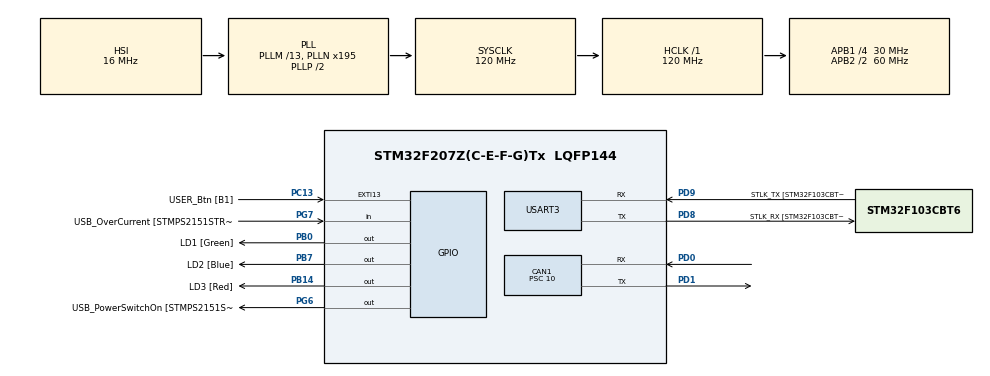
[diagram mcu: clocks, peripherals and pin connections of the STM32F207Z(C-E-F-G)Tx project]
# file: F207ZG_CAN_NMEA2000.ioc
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Mcu.Family=STM32F2
PH0-OSC_IN.Signal=RCC_OSC_IN
RCC.CortexFreq_Value=120000000
PG6.Signal=GPIO_Output
PB14.GPIO_Label=LD3 [Red]
PG6.GPIO_Label=USB_PowerSwitchOn [STMPS2151STR_EN]
PA14.GPIO_Label=TCK
RCC.SYSCLKSourceVirtual=RCC_SYSCLKSOURCE_PLLCLK
PB0.GPIO_Label=LD1 [Green]
PC13.GPIO_Label=USER_Btn [B1]
PB13.GPIO_Label=RMII_TXD1 [LAN8742A-CZ-TR_TXD1]
PB13.Signal=ETH_TXD1
PG13.Signal=ETH_TXD0
PD9.Mode=Asynchronous
PG11.Signal=ETH_TX_EN
RCC.SYSCLKSource=RCC_SYSCLKSOURCE_PLLCLK
ProjectManager.StackSize=0x400
PA12.Signal=USB_OTG_FS_DP
RCC.HCLKFreq_Value=120000000
RCC.APB2TimFreq_Value=120000000
PD0.Signal=CAN1_RX
PD8.Signal=USART3_TX
RCC.AHBFreq_Value=120000000
PH0-OSC_IN.Mode=HSE-External-Clock-Source
PH0-OSC_IN.GPIO_Label=MCO [STM32F103CBT6_PA8]
RCC.HSE_VALUE=8000000
RCC.PLLMUL=RCC_PLL_MUL9
PC14-OSC32_IN.Mode=LSE-External-Oscillator
PC4.GPIO_Label=RMII_RXD0 [LAN8742A-CZ-TR_RXD0]
PA14.Mode=Serial_Wire
PA10.GPIO_Label=USB_ID
PB7.Signal=GPIO_Output
PA8.Signal=USB_OTG_FS_SOF
PB7.GPIO_Label=LD2 [Blue]
PH1-OSC_OUT.Mode=HSE-External-Clock-Source
CAN1.Prescaler=10
Mcu.Package=LQFP144
PA2.GPIO_Label=RMII_MDIO [LAN8742A-CZ-TR_MDIO]
PA10.Signal=USB_OTG_FS_ID
RCC.APB2CLKDivider=RCC_HCLK_DIV2
RCC.APB1TimFreq_Value=60000000
PG11.GPIO_Label=RMII_TX_EN [LAN8742A-CZ-TR_TXEN]
PC5.Signal=ETH_RXD1
CAN1.CalculateTimeBit=3999.99
CAN1.CalculateTimeQuantum=333.33333333333337
PB3.GPIO_Label=SWO
PC15-OSC32_OUT.Mode=LSE-External-Oscillator
PG7.Signal=GPIO_Input
PD9.GPIO_Label=STLK_TX [STM32F103CBT6_PA2]
PC13.Signal=GPXTI13
PA9.GPIO_Label=USB_VBUS
CAN1.CalculateBaudRate=250000
PC4.Signal=ETH_RXD0
PD1.Signal=CAN1_TX
PA11.GPIO_Label=USB_DM
PD9.Signal=USART3_RX
RCC.APB1CLKDivider=RCC_HCLK_DIV4
PC14-OSC32_IN.Signal=RCC_OSC32_IN
PG13.GPIO_Label=RMII_TXD0 [LAN8742A-CZ-TR_TXD0]
PA12.GPIO_Label=USB_DP
PD8.GPIO_Label=STLK_RX [STM32F103CBT6_PA3]
PA13.Signal=SYS_JTMS-SWDIO
PA8.GPIO_Label=USB_SOF [TP1]
CAN1.BS1=CAN_BS1_10TQ
ProjectManager.TargetToolchain=STM32CubeIDE
PA9.Signal=USB_OTG_FS_VBUS
RCC.USBFreq_Value=48000000
PC15-OSC32_OUT.Signal=RCC_OSC32_OUT
PD8.Mode=Asynchronous
PA1.Signal=ETH_REF_CLK
PB14.Signal=GPIO_Output
board=NUCLEO-F207ZG
RCC.VCOOutputFreq_Value=240000000
PD1.Mode=CAN_Activate
RCC.APB2Freq_Value=60000000
RCC.PRESCALERUSB=RCC_USBCLKSOURCE_PLL_DIV1_5
PG7.GPIO_Label=USB_OverCurrent [STMPS2151STR_FAULT]
PA1.GPIO_Label=RMII_REF_CLK [LAN8742A-CZ-TR_REFCLK0]
PC1.GPIO_Label=RMII_MDC [LAN8742A-CZ-TR_MDC]
PH1-OSC_OUT.Signal=RCC_OSC_OUT
PA13.Mode=Serial_Wire
Mcu.Name=STM32F207Z(C-E-F-G)Tx
PD0.Mode=CAN_Activate
PA2.Signal=ETH_MDIO
PA13.GPIO_Label=TMS
RCC.48MHZClocksFreq_Value=48000000
PB3.Signal=SYS_JTDO-SWO
RCC.SYSCLKFreq_VALUE=120000000
PA7.GPIO_Label=RMII_CRS_DV [LAN8742A-CZ-TR_CRS_DV]
PC5.GPIO_Label=RMII_RXD1 [LAN8742A-CZ-TR_RXD1]
USART3.VirtualMode=VM_ASYNC
PA11.Signal=USB_OTG_FS_DM
PA14.Signal=SYS_JTCK-SWCLK
ProjectManager.HeapSize=0x200
RCC.HSI_VALUE=16000000
RCC.PLLQ=5
NVIC.PriorityGroup=NVIC_PRIORITYGROUP_4
RCC.PLLM=13
RCC.PLLN=195
RCC.APB1Freq_Value=30000000
PB0.Signal=GPIO_Output
PC1.Signal=ETH_MDC
NVIC.CAN1_RX0_IRQn=true\:0\:0\:false\:false\:true\:true\:true
PA7.Signal=ETH_CRS_DV

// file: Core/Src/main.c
/* USER CODE BEGIN Header */
/**
  ******************************************************************************
  * @file           : main.c
  * @brief          : Main program body
  ******************************************************************************
  * @attention
  *
  * <h2><center>&copy; Copyright (c) 2022 STMicroelectronics.
  * All rights reserved.</center></h2>
  *
  * This software component is licensed by ST under BSD 3-Clause license,
  * the "License"; You may not use this file except in compliance with the
  * License. You may obtain a copy of the License at:
  *                        opensource.org/licenses/BSD-3-Clause
  *
  ******************************************************************************
  */
/* USER CODE END Header */
#include "main.h"
#include "can.h"
#include "usart.h"
#include "gpio.h"
#include "nmea2000.h"

/* USER CODE BEGIN PV */

extern BLDC_Motor_Msg_t	BLDC_Motor_Msg_1;
extern BLDC_Motor_Msg_t	BLDC_Motor_Msg_2;

extern NMEA2000_Msg_t NMEA_2000_Msg_EPRU;
extern NMEA2000_Msg_t NMEA_2000_Msg_EPD;
extern NMEA2000_Msg_t NMEA_2000_Msg_BatStatus;

uint8_t RxData[8];

/* USER CODE END PV */

void SystemClock_Config(void);

int main(void)
{

  /* MCU Configuration--------------------------------------------------------*/

  /* Reset of all peripherals, Initializes the Flash interface and the Systick. */
  HAL_Init();

  /* Configure the system clock */
  SystemClock_Config();

  /* Initialize all configured peripherals */
  MX_GPIO_Init();
  MX_USART3_UART_Init();
  MX_CAN1_Init();
  /* USER CODE BEGIN 2 */
  CAN_Start();
  CAN_ActivateNotification();
  CAN_Filter_Config();

  /* USER CODE END 2 */

  BLDC_Motor_Msg_1.BLDC_Motor_Msg_1_Data.RotorSpeed = 1000;
  NMEA2000_Transmit_Msg(&NMEA_2000_Msg_EPRU);
  BLDC_Motor_Msg_1.BLDC_Motor_Msg_1_Data.BatteryVoltage = 53;
  NMEA2000_Transmit_Msg(&NMEA_2000_Msg_BatStatus);

  /* Infinite loop */
  while (1)
  {

  }
}

void SystemClock_Config(void)
{
  RCC_OscInitTypeDef RCC_OscInitStruct = {0};
  RCC_ClkInitTypeDef RCC_ClkInitStruct = {0};

  /** Initializes the RCC Oscillators according to the specified parameters
  * in the RCC_OscInitTypeDef structure.
  */
  RCC_OscInitStruct.OscillatorType = RCC_OSCILLATORTYPE_HSI;
  RCC_OscInitStruct.HSIState = RCC_HSI_ON;
  RCC_OscInitStruct.HSICalibrationValue = RCC_HSICALIBRATION_DEFAULT;
  RCC_OscInitStruct.PLL.PLLState = RCC_PLL_ON;
  RCC_OscInitStruct.PLL.PLLSource = RCC_PLLSOURCE_HSI;
  RCC_OscInitStruct.PLL.PLLM = 13;
  RCC_OscInitStruct.PLL.PLLN = 195;
  RCC_OscInitStruct.PLL.PLLP = RCC_PLLP_DIV2;
  RCC_OscInitStruct.PLL.PLLQ = 5;
  if (HAL_RCC_OscConfig(&RCC_OscInitStruct) != HAL_OK)
  {
    Error_Handler();
  }
  /** Initializes the CPU, AHB and APB buses clocks
  */
  RCC_ClkInitStruct.ClockType = RCC_CLOCKTYPE_HCLK|RCC_CLOCKTYPE_SYSCLK
                              |RCC_CLOCKTYPE_PCLK1|RCC_CLOCKTYPE_PCLK2;
  RCC_ClkInitStruct.SYSCLKSource = RCC_SYSCLKSOURCE_PLLCLK;
  RCC_ClkInitStruct.AHBCLKDivider = RCC_SYSCLK_DIV1;
  RCC_ClkInitStruct.APB1CLKDivider = RCC_HCLK_DIV4;
  RCC_ClkInitStruct.APB2CLKDivider = RCC_HCLK_DIV2;

  if (HAL_RCC_ClockConfig(&RCC_ClkInitStruct, FLASH_LATENCY_3) != HAL_OK)
  {
    Error_Handler();
  }
}

/* USER CODE BEGIN 4 */
void HAL_CAN_RxFifo0MsgPendingCallback(CAN_HandleTypeDef *hcan)
{
	CAN_Receive_Msg(RxData);
	BLDC_Set_Received_Values(RxData);

	NMEA2000_Transmit_Msg(&NMEA_2000_Msg_EPRU);
	NMEA2000_Transmit_Msg(&NMEA_2000_Msg_BatStatus);
	NMEA2000_Transmit_Msg(&NMEA_2000_Msg_EPD);

	HAL_GPIO_TogglePin(LD3_GPIO_Port, LD3_Pin);
}

/* USER CODE END 4 */

void Error_Handler(void)
{
  __disable_irq();
  while (1)
  {
  }
}

/************************ (C) COPYRIGHT STMicroelectronics *****END OF FILE****/
